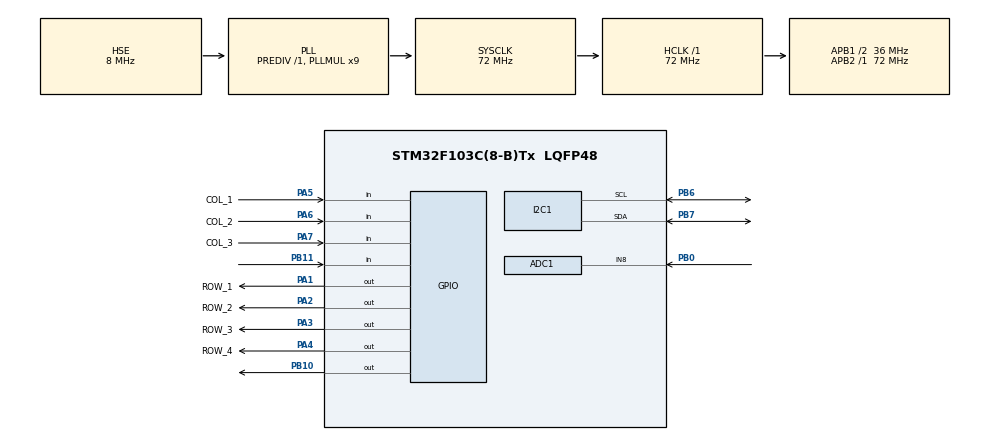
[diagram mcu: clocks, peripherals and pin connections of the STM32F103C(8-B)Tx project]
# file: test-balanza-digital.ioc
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ADC1.Channel-0\#ChannelRegularConversion=ADC_CHANNEL_8
ADC1.ContinuousConvMode=ENABLE
ADC1.NbrOfConversion=1
ADC1.NbrOfConversionFlag=1
ADC1.Rank-0\#ChannelRegularConversion=1
ADC1.SamplingTime-0\#ChannelRegularConversion=ADC_SAMPLETIME_1CYCLE_5
ADC1.master=1
I2C1.I2C_Mode=I2C_Fast
Mcu.Family=STM32F1
Mcu.Name=STM32F103C(8-B)Tx
Mcu.Package=LQFP48
NVIC.PriorityGroup=NVIC_PRIORITYGROUP_4
PA1.GPIO_Label=ROW_1
PA1.Signal=GPIO_Output
PA13.Mode=Serial_Wire
PA13.Signal=SYS_JTMS-SWDIO
PA14.Mode=Serial_Wire
PA14.Signal=SYS_JTCK-SWCLK
PA2.GPIO_Label=ROW_2
PA2.Signal=GPIO_Output
PA3.GPIO_Label=ROW_3
PA3.Signal=GPIO_Output
PA4.GPIO_Label=ROW_4
PA4.Signal=GPIO_Output
PA5.GPIO_Label=COL_1
PA5.GPIO_PuPd=GPIO_PULLUP
PA5.Signal=GPIO_Input
PA6.GPIO_Label=COL_2
PA6.GPIO_PuPd=GPIO_PULLUP
PA6.Signal=GPIO_Input
PA7.GPIO_Label=COL_3
PA7.GPIO_PuPd=GPIO_PULLUP
PA7.Signal=GPIO_Input
PB0.Signal=ADCx_IN8
PB10.Signal=GPIO_Output
PB11.Signal=GPIO_Input
PB6.Mode=I2C
PB6.Signal=I2C1_SCL
PB7.Mode=I2C
PB7.Signal=I2C1_SDA
PC14-OSC32_IN.Mode=LSE-External-Oscillator
PC14-OSC32_IN.Signal=RCC_OSC32_IN
PC15-OSC32_OUT.Mode=LSE-External-Oscillator
PC15-OSC32_OUT.Signal=RCC_OSC32_OUT
PD0-OSC_IN.Mode=HSE-External-Oscillator
PD0-OSC_IN.Signal=RCC_OSC_IN
PD1-OSC_OUT.Mode=HSE-External-Oscillator
PD1-OSC_OUT.Signal=RCC_OSC_OUT
ProjectManager.HeapSize=0x200
ProjectManager.StackSize=0x400
ProjectManager.TargetToolchain=STM32CubeIDE
RCC.ADCPresc=RCC_ADCPCLK2_DIV6
RCC.AHBFreq_Value=72000000
RCC.APB1CLKDivider=RCC_HCLK_DIV2
RCC.APB1Freq_Value=36000000
RCC.APB1TimFreq_Value=72000000
RCC.APB2Freq_Value=72000000
RCC.APB2TimFreq_Value=72000000
RCC.HCLKFreq_Value=72000000
RCC.PLLMUL=RCC_PLL_MUL9
RCC.PLLSourceVirtual=RCC_PLLSOURCE_HSE
RCC.SYSCLKFreq_VALUE=72000000
RCC.SYSCLKSource=RCC_SYSCLKSOURCE_PLLCLK
RCC.USBFreq_Value=72000000
SH.ADCx_IN8.0=ADC1_IN8,IN8
TIM1.Prescaler=72-1
VP_RTC_VS_RTC_Activate.Mode=RTC_Enabled
VP_TIM1_VS_ClockSourceINT.Mode=Internal
board=custom

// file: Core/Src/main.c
/* USER CODE BEGIN Header */
/**
 ******************************************************************************
 * @file           : main.c
 * @brief          : Main program body
 ******************************************************************************
 * @attention
 *
 * <h2><center>&copy; Copyright (c) 2021 STMicroelectronics.
 * All rights reserved.</center></h2>
 *
 * This software component is licensed by ST under BSD 3-Clause license,
 * the "License"; You may not use this file except in compliance with the
 * License. You may obtain a copy of the License at:
 *                        opensource.org/licenses/BSD-3-Clause
 *
 ******************************************************************************
 */
/* USER CODE END Header */
#include "main.h"

/* USER CODE BEGIN Includes */
#include "adc_balanza.h"
#include "debounce.h"
#include "keypad_balanza.h"
//#include "bitmap.h"
#include "fonts.h"
#include "ssd1306.h"
#include "oled_balanza.h"
#include "hx711.h"
/* USER CODE END Includes */

ADC_HandleTypeDef hadc1;

I2C_HandleTypeDef hi2c1;

RTC_HandleTypeDef hrtc;

TIM_HandleTypeDef htim1;

void SystemClock_Config(void);
static void MX_GPIO_Init(void);
static void MX_ADC1_Init(void);
static void MX_I2C1_Init(void);
static void MX_RTC_Init(void);
static void MX_TIM1_Init(void);

/* USER CODE BEGIN 0 */

// START VARIABLE
uint32_t tick_main;
// END VARIABLE

// START VARIABLE SRAM
float escala_sram;
uint32_t offset_sram;
// END VARIABLE SRAM

// START VARIABLE KEYPAD
extern debounce_t deb_col_1; 	//! Variable para inicializar
extern debounce_t deb_col_2;	//! Variable para inicializar
extern debounce_t deb_col_3;	//! Variable para inicializar

uint8_t key;
// END VARIABLE KEYPAD

// START VARIABLE ADC
uint16_t bat_avg;	//! Es el promedio de muestras
uint8_t charge_por; //! Variable global para la medicion de bateria

extern uint32_t ticks_adc;				//! Uso interno para hacer pooling
extern uint16_t cuentas_adc;			//! Uso interno para convertir
extern uint8_t bat_index;				//! Usada para avg movl
extern uint32_t bat_buffer[bat_len];	//! Usada para avg movl
extern uint32_t bat_acc;				//! Usada para avg movl
// END VARIABLE ADC

/* USER CODE END 0 */

int main(void)
{
  /* USER CODE BEGIN 1 */
	enum state s = BIENVENIDA;

	int32_t new_w = -1;
	int32_t last_w = 0;
  /* USER CODE END 1 */

  /* MCU Configuration--------------------------------------------------------*/

  /* Reset of all peripherals, Initializes the Flash interface and the Systick. */
  HAL_Init();

  /* Configure the system clock */
  SystemClock_Config();

  /* Initialize all configured peripherals */
  MX_GPIO_Init();
  MX_ADC1_Init();
  MX_I2C1_Init();
  MX_RTC_Init();
  MX_TIM1_Init();
  /* USER CODE BEGIN 2 */
	Init_balanza();
  /* USER CODE END 2 */

  /* Infinite loop */
  /* USER CODE BEGIN WHILE */
	ticks_adc = HAL_GetTick();					// Variable para ADC

	/* Lectura calibraciones anteriores	*/

	/* DEBERIA SER*/
	//escala_sram = HAL_RTCEx_BKUPRead(&hrtc, 1);
	//offset_sram = HAL_RTCEx_BKUPRead(&hrtc, 2);

	//HX711_set_scale_g(escala_sram);
	/* DEBERIA SER*/

	HX711_calib_harcodeado(); //REEMPLAZAR

	tick_main = HAL_GetTick();

	while (1) {
		Measure_battery(); // Toma muestras cada 5s y lo promedia
		switch (s) {
			case BIENVENIDA:
				printoled_start();
				HX711_tare();	//TARO LA BASE PARA EL OFFSET
				s = PESAJE;
				SSD1306_Clear();	//Limpio OLED
				break;

			case MENU:
				printoled_menu();
				printoled_battery(charge_por);

				break;

			case PESAJE:
				//new_w = HX711_read_g();
				if (new_w!= last_w){
					last_w = new_w;
					SSD1306_Clear();	//Limpio OLED
					printoled_weight(last_w, 0);
				}
				if(read_keypad() == 12){
					s = MENU;
					SSD1306_Clear();	//Limpio OLED
				}
				break;

			case CALIBRAR:

				break;

			case TARAR:

				break;

			case PRECIO:

				break;

			case PC:

				break;

			default:
				break;

		}

    /* USER CODE END WHILE */

	}
}

void SystemClock_Config(void)
{
  RCC_OscInitTypeDef RCC_OscInitStruct = {0};
  RCC_ClkInitTypeDef RCC_ClkInitStruct = {0};
  RCC_PeriphCLKInitTypeDef PeriphClkInit = {0};

  /** Initializes the RCC Oscillators according to the specified parameters
  * in the RCC_OscInitTypeDef structure.
  */
  RCC_OscInitStruct.OscillatorType = RCC_OSCILLATORTYPE_LSI|RCC_OSCILLATORTYPE_HSE;
  RCC_OscInitStruct.HSEState = RCC_HSE_ON;
  RCC_OscInitStruct.HSEPredivValue = RCC_HSE_PREDIV_DIV1;
  RCC_OscInitStruct.HSIState = RCC_HSI_ON;
  RCC_OscInitStruct.LSIState = RCC_LSI_ON;
  RCC_OscInitStruct.PLL.PLLState = RCC_PLL_ON;
  RCC_OscInitStruct.PLL.PLLSource = RCC_PLLSOURCE_HSE;
  RCC_OscInitStruct.PLL.PLLMUL = RCC_PLL_MUL9;
  if (HAL_RCC_OscConfig(&RCC_OscInitStruct) != HAL_OK)
  {
    Error_Handler();
  }
  /** Initializes the CPU, AHB and APB buses clocks
  */
  RCC_ClkInitStruct.ClockType = RCC_CLOCKTYPE_HCLK|RCC_CLOCKTYPE_SYSCLK
                              |RCC_CLOCKTYPE_PCLK1|RCC_CLOCKTYPE_PCLK2;
  RCC_ClkInitStruct.SYSCLKSource = RCC_SYSCLKSOURCE_PLLCLK;
  RCC_ClkInitStruct.AHBCLKDivider = RCC_SYSCLK_DIV1;
  RCC_ClkInitStruct.APB1CLKDivider = RCC_HCLK_DIV2;
  RCC_ClkInitStruct.APB2CLKDivider = RCC_HCLK_DIV1;

  if (HAL_RCC_ClockConfig(&RCC_ClkInitStruct, FLASH_LATENCY_2) != HAL_OK)
  {
    Error_Handler();
  }
  PeriphClkInit.PeriphClockSelection = RCC_PERIPHCLK_RTC|RCC_PERIPHCLK_ADC;
  PeriphClkInit.RTCClockSelection = RCC_RTCCLKSOURCE_LSI;
  PeriphClkInit.AdcClockSelection = RCC_ADCPCLK2_DIV6;
  if (HAL_RCCEx_PeriphCLKConfig(&PeriphClkInit) != HAL_OK)
  {
    Error_Handler();
  }
}

static void MX_ADC1_Init(void)
{

  ADC_ChannelConfTypeDef sConfig = {0};

  /** Common config
  */
  hadc1.Instance = ADC1;
  hadc1.Init.ScanConvMode = ADC_SCAN_DISABLE;
  hadc1.Init.ContinuousConvMode = ENABLE;
  hadc1.Init.DiscontinuousConvMode = DISABLE;
  hadc1.Init.ExternalTrigConv = ADC_SOFTWARE_START;
  hadc1.Init.DataAlign = ADC_DATAALIGN_RIGHT;
  hadc1.Init.NbrOfConversion = 1;
  if (HAL_ADC_Init(&hadc1) != HAL_OK)
  {
    Error_Handler();
  }
  /** Configure Regular Channel
  */
  sConfig.Channel = ADC_CHANNEL_8;
  sConfig.Rank = ADC_REGULAR_RANK_1;
  sConfig.SamplingTime = ADC_SAMPLETIME_1CYCLE_5;
  if (HAL_ADC_ConfigChannel(&hadc1, &sConfig) != HAL_OK)
  {
    Error_Handler();
  }

}

static void MX_I2C1_Init(void)
{

  hi2c1.Instance = I2C1;
  hi2c1.Init.ClockSpeed = 400000;
  hi2c1.Init.DutyCycle = I2C_DUTYCYCLE_2;
  hi2c1.Init.OwnAddress1 = 0;
  hi2c1.Init.AddressingMode = I2C_ADDRESSINGMODE_7BIT;
  hi2c1.Init.DualAddressMode = I2C_DUALADDRESS_DISABLE;
  hi2c1.Init.OwnAddress2 = 0;
  hi2c1.Init.GeneralCallMode = I2C_GENERALCALL_DISABLE;
  hi2c1.Init.NoStretchMode = I2C_NOSTRETCH_DISABLE;
  if (HAL_I2C_Init(&hi2c1) != HAL_OK)
  {
    Error_Handler();
  }

}

static void MX_RTC_Init(void)
{

  /** Initialize RTC Only
  */
  hrtc.Instance = RTC;
  hrtc.Init.AsynchPrediv = RTC_AUTO_1_SECOND;
  hrtc.Init.OutPut = RTC_OUTPUTSOURCE_ALARM;
  if (HAL_RTC_Init(&hrtc) != HAL_OK)
  {
    Error_Handler();
  }

}

static void MX_TIM1_Init(void)
{

  TIM_ClockConfigTypeDef sClockSourceConfig = {0};
  TIM_MasterConfigTypeDef sMasterConfig = {0};

  htim1.Instance = TIM1;
  htim1.Init.Prescaler = 72-1;
  htim1.Init.CounterMode = TIM_COUNTERMODE_UP;
  htim1.Init.Period = 65535;
  htim1.Init.ClockDivision = TIM_CLOCKDIVISION_DIV1;
  htim1.Init.RepetitionCounter = 0;
  htim1.Init.AutoReloadPreload = TIM_AUTORELOAD_PRELOAD_DISABLE;
  if (HAL_TIM_Base_Init(&htim1) != HAL_OK)
  {
    Error_Handler();
  }
  sClockSourceConfig.ClockSource = TIM_CLOCKSOURCE_INTERNAL;
  if (HAL_TIM_ConfigClockSource(&htim1, &sClockSourceConfig) != HAL_OK)
  {
    Error_Handler();
  }
  sMasterConfig.MasterOutputTrigger = TIM_TRGO_RESET;
  sMasterConfig.MasterSlaveMode = TIM_MASTERSLAVEMODE_DISABLE;
  if (HAL_TIMEx_MasterConfigSynchronization(&htim1, &sMasterConfig) != HAL_OK)
  {
    Error_Handler();
  }
  /* USER CODE BEGIN TIM1_Init 2 */
  HAL_TIM_Base_Start(&htim1);
  /* USER CODE END TIM1_Init 2 */

}

static void MX_GPIO_Init(void)
{
  GPIO_InitTypeDef GPIO_InitStruct = {0};

  /* GPIO Ports Clock Enable */
  __HAL_RCC_GPIOC_CLK_ENABLE();
  __HAL_RCC_GPIOD_CLK_ENABLE();
  __HAL_RCC_GPIOA_CLK_ENABLE();
  __HAL_RCC_GPIOB_CLK_ENABLE();

  /*Configure GPIO pin Output Level */
  HAL_GPIO_WritePin(GPIOA, ROW_1_Pin|ROW_2_Pin|ROW_3_Pin|ROW_4_Pin, GPIO_PIN_RESET);

  /*Configure GPIO pin Output Level */
  HAL_GPIO_WritePin(GPIOB, GPIO_PIN_10, GPIO_PIN_RESET);

  /*Configure GPIO pins : ROW_1_Pin ROW_2_Pin ROW_3_Pin ROW_4_Pin */
  GPIO_InitStruct.Pin = ROW_1_Pin|ROW_2_Pin|ROW_3_Pin|ROW_4_Pin;
  GPIO_InitStruct.Mode = GPIO_MODE_OUTPUT_PP;
  GPIO_InitStruct.Pull = GPIO_NOPULL;
  GPIO_InitStruct.Speed = GPIO_SPEED_FREQ_LOW;
  HAL_GPIO_Init(GPIOA, &GPIO_InitStruct);

  /*Configure GPIO pins : COL_1_Pin COL_2_Pin COL_3_Pin */
  GPIO_InitStruct.Pin = COL_1_Pin|COL_2_Pin|COL_3_Pin;
  GPIO_InitStruct.Mode = GPIO_MODE_INPUT;
  GPIO_InitStruct.Pull = GPIO_PULLUP;
  HAL_GPIO_Init(GPIOA, &GPIO_InitStruct);

  /*Configure GPIO pin : PB10 */
  GPIO_InitStruct.Pin = GPIO_PIN_10;
  GPIO_InitStruct.Mode = GPIO_MODE_OUTPUT_PP;
  GPIO_InitStruct.Pull = GPIO_NOPULL;
  GPIO_InitStruct.Speed = GPIO_SPEED_FREQ_LOW;
  HAL_GPIO_Init(GPIOB, &GPIO_InitStruct);

  /*Configure GPIO pin : PB11 */
  GPIO_InitStruct.Pin = GPIO_PIN_11;
  GPIO_InitStruct.Mode = GPIO_MODE_INPUT;
  GPIO_InitStruct.Pull = GPIO_NOPULL;
  HAL_GPIO_Init(GPIOB, &GPIO_InitStruct);

}

/* USER CODE BEGIN 4 */

/**
 * \fn 		: void Init_balanza(void)
 * \brief 	: Inicializa todos los modulos necesarios
 * \details : inicializa teclado.ssd,adc,filtro
 * \author 	: Tobias Bavasso Piizzi
 * \date   	: 26/09/2021
 * \param 	: [in] void
 * \return 	: void
 * */
void Init_balanza(void) {
	SSD1306_Init(); 								// INICIALIZACION OLED

	debounce_init(&deb_col_1, 1, DEBOUNCE_TICKS); 	//Incializo teclado
	debounce_init(&deb_col_2, 1, DEBOUNCE_TICKS);
	debounce_init(&deb_col_3, 1, DEBOUNCE_TICKS);

	HAL_ADCEx_Calibration_Start(&hadc1);			// Calibro interno ADC
	Inicializar_avg_movil(bat_buffer, &bat_index, bat_len, &bat_acc);// Inicializo filtro media movil

}

/* USER CODE END 4 */

void Error_Handler(void)
{
	__disable_irq();
	while (1) {
	}
}

/************************ (C) COPYRIGHT STMicroelectronics *****END OF FILE****/
